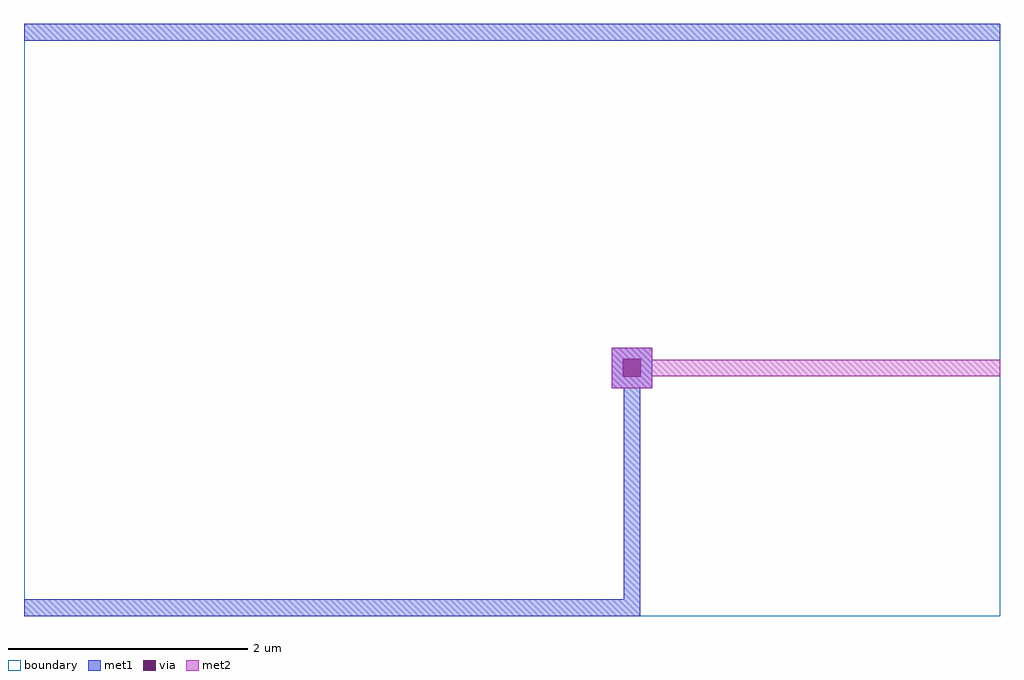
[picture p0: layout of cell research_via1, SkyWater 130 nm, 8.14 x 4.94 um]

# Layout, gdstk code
import gdstk
lib = gdstk.Library(unit=1e-6, precision=1e-09)
def R(c, l, rs):  # rectangles x0, y0, x1, y1
    for r in rs: c.add(gdstk.rectangle(r[:2], r[2:], *l))
met1 = (68, 20)
via = (68, 44)
met2 = (69, 20)
boundary = (235, 4)

research_via1 = lib.new_cell('research_via1')
R(research_via1, met1, [(0,0,5.14,0.14), (5,0,5.14,2.14), (4.9,1.9,5.24,2.24), (0,4.8,8.14,4.94)])
R(research_via1, via, [(4.995,1.995,5.145,2.145)])
R(research_via1, met2, [(4.9,1.9,5.24,2.24), (5,2,8.14,2.14)])
R(research_via1, boundary, [(0,0,8.14,4.94)])

lib.write_gds('research_via1.gds')
